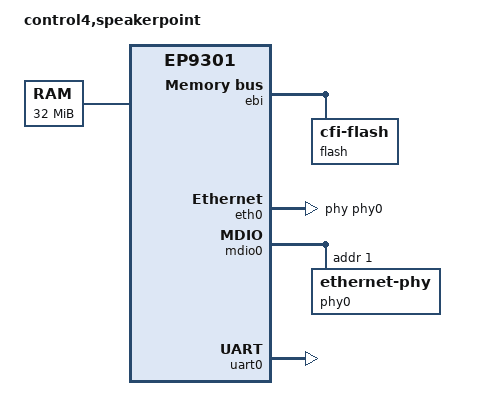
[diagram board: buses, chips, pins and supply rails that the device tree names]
// SPDX-License-Identifier: GPL-2.0-only OR BSD-2-Clause
/*
 * Device Tree for the Control4 SpeakerPoint (Cirrus EP9301 / EDB9301
 * reference design). See Research/Speakerpoint/Notes.txt for how this
 * hardware was identified (register dumps, /proc/mtd, dmesg, etc. from
 * the stock firmware).
 *
 * Minimal for now: NOR flash (so the RedBoot partition table / mtdblock3
 * root still work), Ethernet, and the ttyAM0 serial console. Audio
 * (STAC9758 AC97 codec + D2 Audio I2C amp) and the front-panel
 * button/LED are not wired up yet - later milestones.
 */
/dts-v1/;
#include "ep93xx.dtsi"

/ {
	#address-cells = <1>;
	#size-cells = <1>;
	compatible = "cirrus,edb9301", "cirrus,ep9301";
	model = "control4,speakerpoint";

	chosen {
	};

	memory@0 {
		device_type = "memory";
		/* Matches /proc/iomem on the stock firmware (4x 8MB banks,
		 * 32MB total). Also gets set from ATAGS by RedBoot. */
		reg = <0x0000000 0x800000>,
		      <0x1000000 0x800000>,
		      <0x4000000 0x800000>,
		      <0x5000000 0x800000>;
	};
};

&ebi {
	flash@60000000 {
		/* Intel JS28F128, 16MB, 16-bit bus - see Notes.txt */
		compatible = "cfi-flash";
		reg = <0x60000000 0x1000000>;
		bank-width = <2>;

		/* Stock firmware's RedBoot maintains the authoritative
		 * partition table in the FIS directory, the last 128KB
		 * (0x20000) erase block of the 16MB/128-block flash - see
		 * the "Creating 7 MTD partitions" dump in
		 * Research/Speakerpoint/Notes.txt (mtd7 "FIS directory" at
		 * 0x00fe0000-0x01000000, i.e. block 127). Reading the
		 * partition table from flash (rather than hardcoding offsets
		 * here) means it stays correct even if `fis create` is later
		 * used to resize/rewrite entries. root=/dev/mtdblock3 (the
		 * "cramfs"/rootfs slot in the stock layout) matches the
		 * stock kernel's own cmdline.
		 */
		partitions {
			compatible = "redboot-fis";
			fis-index-block = <127>;
		};
	};
};

&eth0 {
	phy-handle = <&phy0>;
};

&mdio0 {
	phy0: ethernet-phy@1 {
		reg = <1>;
		device_type = "ethernet-phy";
	};
};

&uart0 {
	status = "okay";
};
